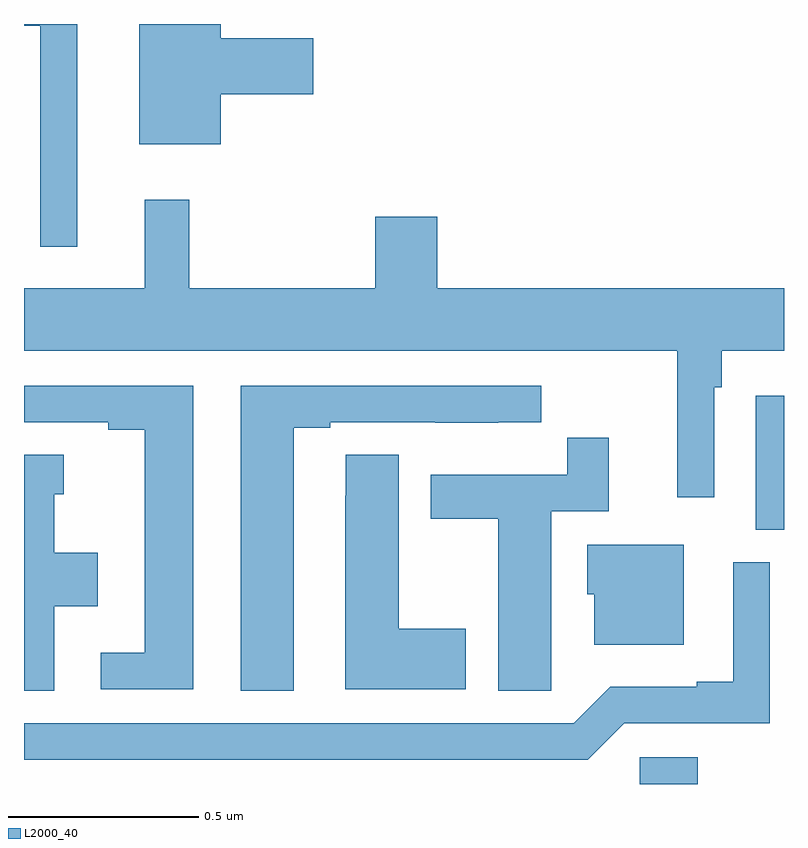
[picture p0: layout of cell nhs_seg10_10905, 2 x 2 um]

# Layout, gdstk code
import gdstk
lib = gdstk.Library(unit=1e-6, precision=1e-09)
def R(c, l, rs):  # rectangles x0, y0, x1, y1
    for r in rs: c.add(gdstk.rectangle(r[:2], r[2:], *l))
def P(c, l, *ps):  # polygons
    for p in ps: c.add(gdstk.Polygon(p, *l))
L2000_40 = (2000, 40)

nhs_seg10_10905 = lib.new_cell('nhs_seg10_10905')
R(nhs_seg10_10905, L2000_40, [(249.621,1308.5,249.773,1308.57), (249.926,1309.169,250,1309.522)])
P(nhs_seg10_10905, L2000_40, [(248.14,1310.5),(248,1310.5),(248,1310.495),(248.043,1310.495),(248.043,1309.914),(248.14,1309.914)],
  [(248.518,1310.315),(248.761,1310.315),(248.761,1310.462),(248.518,1310.462),(248.518,1310.5),(248.303,1310.5),(248.303,1310.183),(248.518,1310.183)],
  [(249.816,1309.544),(249.836,1309.544),(249.836,1309.64),(250,1309.64),(250,1309.804),(249.088,1309.804),(249.088,1309.993),(248.924,1309.993),(248.924,1309.804),(248.435,1309.804),(248.435,1310.038),(248.318,1310.038),(248.318,1309.804),(248,1309.804),(248,1309.64),(249.719,1309.64),(249.719,1309.254),(249.816,1309.254)],
  [(248.446,1309.548),(248,1309.548),(248,1309.452),(248.222,1309.452),(248.222,1309.432),(248.318,1309.432),(248.318,1308.846),(248.202,1308.846),(248.202,1308.75),(248.446,1308.75)],
  [(248.71,1309.437),(248.806,1309.437),(248.806,1309.452),(249.082,1309.452),(249.082,1309.451),(249.248,1309.451),(249.248,1309.452),(249.361,1309.452),(249.361,1309.548),(248.57,1309.548),(248.57,1308.745),(248.71,1308.745)],
  [(249.387,1308.856),(249.388,1308.856),(249.388,1309.218),(249.539,1309.218),(249.539,1309.411),(249.43,1309.411),(249.43,1309.314),(249.071,1309.314),(249.071,1309.198),(249.248,1309.198),(249.248,1308.745),(249.387,1308.745)],
  [(249.163,1308.909),(248.986,1308.909),(248.986,1309.367),(248.847,1309.367),(248.847,1309.259),(248.846,1309.259),(248.846,1308.749),(249.163,1308.749)],
  [(248.08,1308.968),(248.194,1308.968),(248.194,1309.108),(248.08,1309.108),(248.08,1309.263),(248.104,1309.263),(248.104,1309.366),(248,1309.366),(248,1308.745),(248.08,1308.745)],
  [(249.736,1309.129),(249.482,1309.129),(249.482,1308.999),(249.5,1308.999),(249.5,1308.866),(249.736,1308.866)],
  [(249.579,1308.66),(249.963,1308.66),(249.963,1309.084),(249.866,1309.084),(249.866,1308.769),(249.77,1308.769),(249.77,1308.756),(249.543,1308.756),(249.447,1308.66),(248,1308.66),(248,1308.564),(249.483,1308.564)])

lib.write_gds('nhs_seg10_10905.gds')
